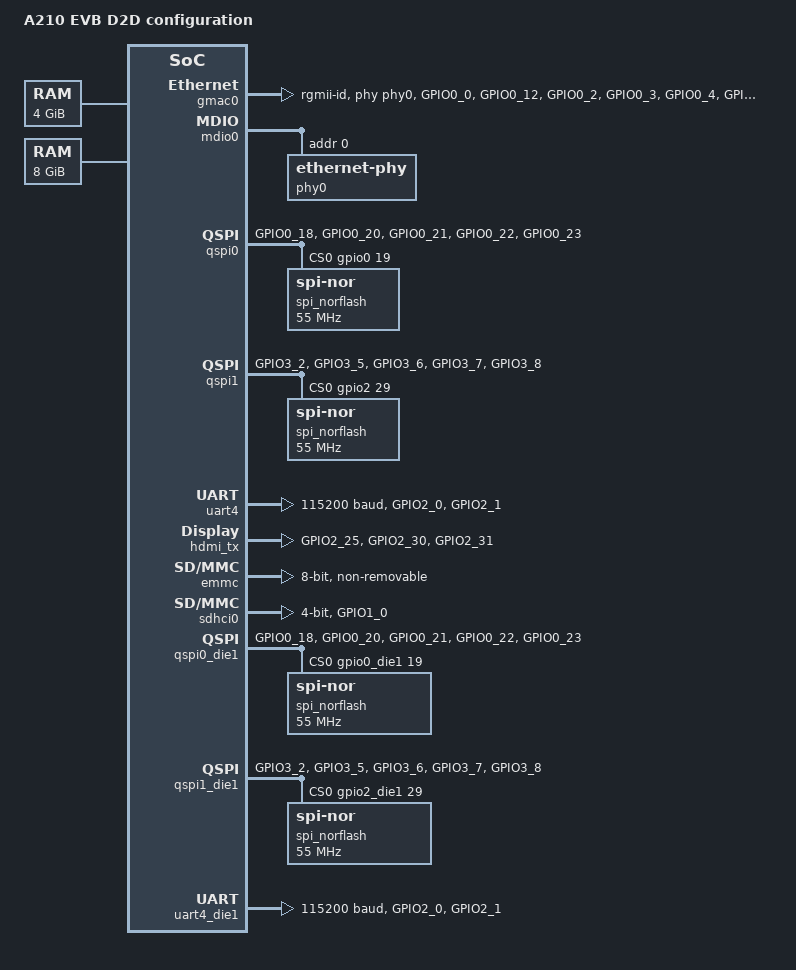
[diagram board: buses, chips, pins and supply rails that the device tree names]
/dts-v1/;

#include "a210-soc-core.dtsi"
#include "a210-soc-core-die1.dtsi"
#include "a210-soc-peri.dtsi"
#include "a210-soc-peri-die1.dtsi"
#include "a210-platform-d2d.dtsi"

/ {
	model = "A210 EVB D2D configuration";

	aliases {
		ethernet0 = &gmac0;
		ethernet1 = &gmac1;

		gpio0 = &ao_gpio0;
		gpio1 = &ao_gpio1;
		gpio2 = &gpio0;
		gpio3 = &gpio1;
		gpio4 = &gpio2;
		gpio5 = &gpio3;
		gpio6 = &gpio4;
		gpio7 = &gpio0_die1;
		gpio8 = &gpio1_die1;
		gpio9 = &gpio2_die1;
		gpio10 = &gpio3_die1;

		mmc0 = &emmc;
		mmc1 = &sdhci0;

		serial0 = &uart0;
		serial1 = &uart1;
		serial2 = &uart2;
		serial3 = &uart3;
		serial4 = &uart4;
		serial5 = &uart5;
		serial6 = &uart6;
		serial7 = &uart7;
		serial8 = &uart8;
		serial9 = &uart9;
		serial14 = &uart4_die1;

		spi0 = &qspi0;
		spi1 = &qspi1;
		spi2 = &spi0;
		spi3 = &spi1;
		spi4 = &qspi0_die1;
		spi5 = &qspi1_die1;
	};

	/* The first 2M will be reserved in the Kernel, and the entire available range is set here */
	memory@0 {
		device_type = "memory";
		reg = <0x00 0x80000000  0x01 0x00000000>; /* 4G - 64MB */
		numa-node-id = <0>;
	};

	memory@2080000000 {
		device_type = "memory";
		reg = <0x20 0x80000000  0x02 0x00000000>; // 8G
		numa-node-id = <1>;
	};

	reserved-memory {
		#address-cells = <2>;
		#size-cells = <2>;
		ranges;

		linux,cma {
			compatible = "shared-dma-pool";
			reusable;
			size = <0x00 0x40000000>;
			alloc-ranges = <0x00 0x90000000 0x00 0x40000000>;
			linux,cma-default;
		};

		memory@1c000000 {
			reg = <0x00 0x1c000000 0x00 0x2000000>;
			no-map;
		};

		framebuffer: framebuffer@10000000 {
			reg = <0x01 0x00 0x00 0x5000000>;
			no-map;
		};

		// zh_videomem@100000000 {
		// 	reg = <0x01 0x00 0x00 0x20000000>;
		// 	no-map;
		// };

		npu_mmu_memory@130000000 {
			reg = <0x01 0x30000000 0x00 0x04000000>;
			no-map;
		};

		npu1_mmu_memory@2130000000 {
			reg = <0x21 0x30000000 0x00 0x04000000>;
			no-map;
		};

		memblock-memory@17b800000 {
			reg = <0x01 0x7b800000 0x00 0x04000000>;
			no-map;
		};
	};

	/* The bootargs in U-Boot will override the configuration set here. */
	chosen {
		stdout-path = "serial4";
	};
};

/* DIE0 */
&peri1_padctrl {
	gmac0_pins: gmac0-0 {
		txclk-pins {
			pins = "GPIO0_0", /* GMAC0_TX_CLK */
					"GPIO0_12"; /* GMAC0_MDC */
			function = "gmac0";
			bias-disable;
			drive-strength = <13>;
			input-disable;
			input-schmitt-disable;
			slew-rate = <0>;
		};

		tx-pins {
			pins = "GPIO0_2", /* GMAC0_TXEN */
					"GPIO0_3", /* GMAC0_TXD0 */
					"GPIO0_4", /* GMAC0_TXD1 */
					"GPIO0_5", /* GMAC0_TXD2 */
					"GPIO0_6"; /* GMAC0_TXD3 */
			function = "gmac0";
			bias-disable;
			drive-strength = <20>;
			input-disable;
			input-schmitt-disable;
			slew-rate = <0>;
		};

		rx-pins {
			pins = "GPIO0_1",  /* GMAC0_RX_CLK */
					"GPIO0_7",  /* GMAC0_RXDV */
					"GPIO0_8",  /* GMAC0_RXD0 */
					"GPIO0_9",  /* GMAC0_RXD1 */
					"GPIO0_10", /* GMAC0_RXD2 */
					"GPIO0_11", /* GMAC0_RXD3 */
					"GPIO0_13"; /* GMAC0_MDIO */
			function = "gmac0";
			bias-disable;
			drive-strength = <13>;
			input-enable;
			input-schmitt-disable;
			slew-rate = <0>;
		};
	};
	qspi0_pins: qspi0-0 {
		qspi-pins {
			pins = "GPIO0_18", "GPIO0_20", "GPIO0_21", "GPIO0_22", "GPIO0_23";
			function = "qspi0";
			bias-disable;
			drive-strength = <13>;
			input-enable;
			input-schmitt-enable;
			slew-rate = <0>;
		};
	};
	sdhci_pins: sdhci0-1 {
		sd-pins {
			pins = "GPIO1_0";
			function = "sdio";
			bias-disable;
			drive-strength = <13>;
			input-enable;
			input-schmitt-enable;
			slew-rate = <0>;
		};
	};
};

&peri2_padctrl {
	uart4_pins: uart4-0 {
		tx-pins {
			pins = "GPIO2_0";
			function = "uart4";
			bias-disable;
			drive-strength = <3>;
			input-disable;
			input-schmitt-disable;
			slew-rate = <0>;
		};

		rx-pins {
			pins = "GPIO2_1";
			function = "uart4";
			bias-disable;
			drive-strength = <1>;
			input-enable;
			input-schmitt-enable;
			slew-rate = <0>;
		};
	};
	hdmi_pins: hdmi-0 {
		hdmi-pins {
			pins = "GPIO2_25", "GPIO2_30", "GPIO2_31";
			function = "hdmi";
			bias-disable;
			drive-strength = <3>;
			input-enable;
			input-schmitt-disable;
			slew-rate = <0>;
		};
	};
	qspi1_pins: qspi1-1 {
		qspi-pins {
			pins = "GPIO3_2", "GPIO3_5", "GPIO3_6", "GPIO3_7", "GPIO3_8";
			function = "qspi1";
			bias-disable;
			drive-strength = <13>;
			input-enable;
			input-schmitt-enable;
			slew-rate = <0>;
		};
	};
};

&gmac0 {
	phy-mode = "rgmii-id";
	pinctrl-names = "default";
	pinctrl-0 = <&gmac0_pins>;
	rx-clk-delay = <0x00>; /* for RGMII */
	tx-clk-delay = <0x00>; /* for RGMII */
	phy-handle = <&phy0>;
};

&mdio0 {
	phy0: ethernet-phy@0 {
		reg = <0x0>;
	};
};


&qspi0 {
	cs-gpios = <&gpio0 19 0>;
	rx-sample-dly = <2>;
	spi-swap-data = <1>;
	spi-max-frequency = <55000000>;
	pinctrl-names = "default";
	pinctrl-0 = <&qspi0_pins>;

	spi_norflash@0 {
		compatible = "jedec,spi-nor";
		spi-max-frequency = <55000000>;
		#address-cells = <1>;
		#size-cells = <1>;
		spi-tx-bus-width = <4>;
		spi-rx-bus-width = <4>;
		reg = <0>;
		status = "okay";
	};
};

&qspi1 {
	cs-gpios = <&gpio2 29 0>;
	rx-sample-dly = <2>;
	spi-swap-data = <1>;
	spi-max-frequency = <55000000>;
	pinctrl-names = "default";
	pinctrl-0 = <&qspi1_pins>;

	spi_norflash@0 {
		compatible = "jedec,spi-nor";
		spi-max-frequency = <55000000>;
		#address-cells = <1>;
		#size-cells = <1>;
		spi-tx-bus-width = <4>;
		spi-rx-bus-width = <4>;
		reg = <0>;
		status = "okay";
	};
};

&uart4 {
	current-speed = <115200>; /* OpenSBI */
	pinctrl-names = "default";
	pinctrl-0 = <&uart4_pins>;
};

&hdmi_tx {
	pinctrl-names = "default";
	pinctrl-0 = <&hdmi_pins>;
};

&emmc {
	max-frequency = <196608000>;
	non-removable;
	mmc-hs400-1_8v;
	mmc-hs200-1_8v;
	io_fixed_1v8;
	is_emmc;
	no-sdio;
	no-sd;
	pull_up;
	bus-width = <8>;
	cap-mmc-highspeed;
	clk-delay-mmc-hs200 = <60>;
};

&sdhci0 {
	pinctrl-names = "default";
	pinctrl-0 = <&sdhci_pins>;
	max-frequency = <196608000>;
	cap-sd-highspeed;
	bus-width = <4>;
	sd-uhs-sdr104;
	no-sdio;
	pull_up;
	wprtn_ignore;
};

/* DIE1 */
&peri1_padctrl_die1 {
	qspi0_pins_die1: qspi0-0 {
		qspi-pins {
			pins = "GPIO0_18", "GPIO0_20", "GPIO0_21", "GPIO0_22", "GPIO0_23";
			function = "qspi0";
			bias-disable;
			drive-strength = <13>;
			input-enable;
			input-schmitt-enable;
			slew-rate = <0>;
		};
	};
};

&peri2_padctrl_die1 {
	uart4_pins_die1: uart4-0 {
		tx-pins {
			pins = "GPIO2_0";
			function = "uart4";
			bias-disable;
			drive-strength = <3>;
			input-disable;
			input-schmitt-disable;
			slew-rate = <0>;
		};

		rx-pins {
			pins = "GPIO2_1";
			function = "uart4";
			bias-disable;
			drive-strength = <1>;
			input-enable;
			input-schmitt-enable;
			slew-rate = <0>;
		};
	};
	qspi1_pins_die1: qspi1-1 {
		qspi-pins {
			pins = "GPIO3_2", "GPIO3_5", "GPIO3_6", "GPIO3_7", "GPIO3_8";
			function = "qspi1";
			bias-disable;
			drive-strength = <13>;
			input-enable;
			input-schmitt-enable;
			slew-rate = <0>;
		};
	};
};

&qspi0_die1 {
	cs-gpios = <&gpio0_die1 19 0>;
	rx-sample-dly = <2>;
	spi-swap-data = <1>;
	spi-max-frequency = <55000000>;
	pinctrl-names = "default";
	pinctrl-0 = <&qspi0_pins_die1>;

	spi_norflash@0 {
		compatible = "jedec,spi-nor";
		spi-max-frequency = <55000000>;
		#address-cells = <1>;
		#size-cells = <1>;
		spi-tx-bus-width = <4>;
		spi-rx-bus-width = <4>;
		reg = <0>;
		status = "okay";
	};
};

&qspi1_die1 {
	cs-gpios = <&gpio2_die1 29 0>;
	rx-sample-dly = <2>;
	spi-swap-data = <1>;
	spi-max-frequency = <55000000>;
	pinctrl-names = "default";
	pinctrl-0 = <&qspi1_pins_die1>;

	spi_norflash@0 {
		compatible = "jedec,spi-nor";
		spi-max-frequency = <55000000>;
		#address-cells = <1>;
		#size-cells = <1>;
		spi-tx-bus-width = <4>;
		spi-rx-bus-width = <4>;
		reg = <0>;
		status = "okay";
	};
};

&uart4_die1 {
	current-speed = <115200>;
	pinctrl-names = "default";
	pinctrl-0 = <&uart4_pins_die1>;
};
